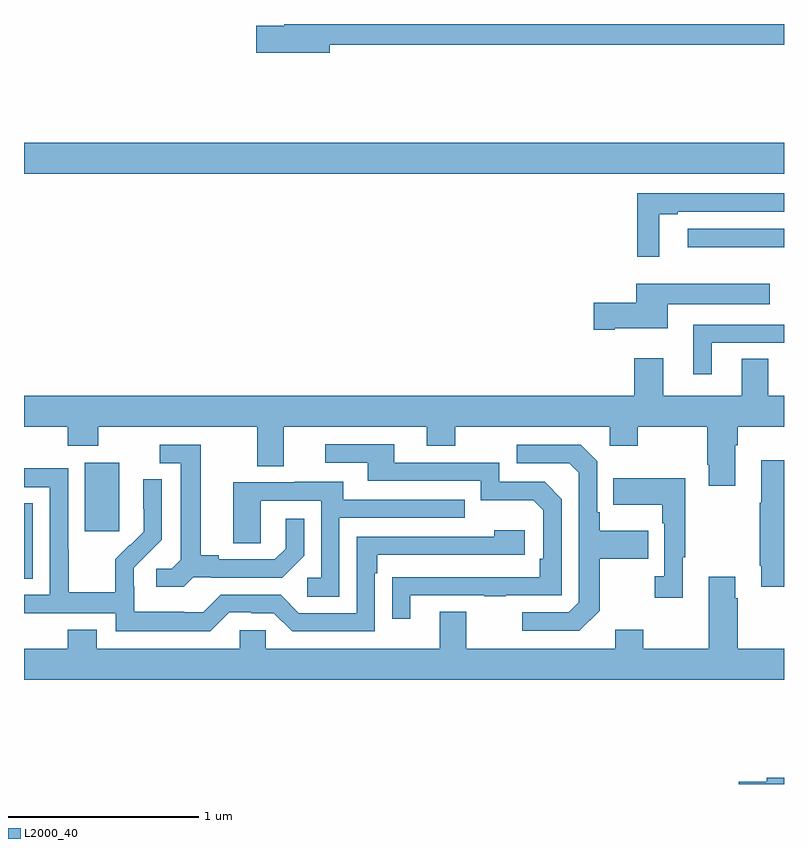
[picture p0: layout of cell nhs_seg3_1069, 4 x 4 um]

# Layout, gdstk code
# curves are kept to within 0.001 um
import gdstk
lib = gdstk.Library(unit=1e-6, precision=1e-09)
def R(c, l, rs):  # rectangles x0, y0, x1, y1
    for r in rs: c.add(gdstk.rectangle(r[:2], r[2:], *l))
def P(c, l, *ps):  # polygons
    for p in ps: c.add(gdstk.Polygon(p, *l))
L2000_40 = (2000, 40)

nhs_seg3_1069 = lib.new_cell('nhs_seg3_1069')
R(nhs_seg3_1069, L2000_40, [(167,669.481,167.047,669.878), (167.321,669.729,167.5,670.09), (170.493,671.225,171,671.322), (167,671.612,171,671.776)])
P(nhs_seg3_1069, L2000_40, [(168.61,672.292),(171,672.292),(171,672.4),(168.371,672.4),(168.371,672.392),(168.222,672.392),(168.222,672.25),(168.61,672.25)],
  [(170.344,671.4),(170.44,671.4),(170.44,671.412),(171,671.412),(171,671.508),(170.227,671.508),(170.227,671.175),(170.344,671.175)],
  [(170.11,670.799),(170.389,670.799),(170.389,670.925),(170.926,670.925),(170.926,671.032),(170.222,671.032),(170.222,670.934),(169.998,670.934),(169.998,670.792),(170.11,670.792)],
  [(170.62,670.722),(171,670.722),(171,670.818),(170.522,670.818),(170.522,670.557),(170.62,670.557)],
  [(170.743,670.184),(170.756,670.184),(170.756,670.28),(171,670.28),(171,670.444),(170.917,670.444),(170.917,670.637),(170.777,670.637),(170.777,670.444),(170.365,670.444),(170.365,670.642),(170.213,670.642),(170.213,670.444),(167,670.444),(167,670.28),(167.231,670.28),(167.231,670.181),(167.391,670.181),(167.391,670.28),(168.227,670.28),(168.227,670.072),(168.367,670.072),(168.367,670.28),(169.121,670.28),(169.121,670.181),(169.269,670.181),(169.269,670.28),(170.082,670.28),(170.082,670.181),(170.229,670.181),(170.229,670.28),(170.596,670.28),(170.596,670.081),(170.603,670.081),(170.603,669.969),(170.743,669.969)],
  [(169.033,669.393),(169.423,669.393),(169.423,669.388),(169.535,669.388),(169.535,669.393),(169.83,669.393),(169.83,669.9),(169.74,669.99),(169.5,669.99),(169.5,670.092),(168.949,670.092),(168.949,670.188),(168.585,670.188),(168.585,670.092),(168.809,670.092),(168.809,669.996),(169.404,669.996),(169.404,669.893),(169.681,669.893),(169.734,669.84),(169.734,669.586),(169.714,669.586),(169.714,669.489),(168.937,669.488),(168.937,669.27),(169.033,669.27)],
  [(170.029,669.313),(170.029,669.586),(170.285,669.586),(170.285,669.733),(170.029,669.733),(170.029,669.829),(170.016,669.829),(170.016,670.098),(169.929,670.185),(169.593,670.185),(169.593,670.089),(169.869,670.089),(169.92,670.038),(169.92,669.357),(169.866,669.303),(169.623,669.303),(169.623,669.207),(169.923,669.207)],
  [(167.892,669.489),(167.986,669.489),(167.986,669.486),(168.358,669.486),(168.474,669.602),(168.474,669.796),(168.377,669.796),(168.377,669.639),(168.32,669.582),(168.025,669.582),(168.025,669.605),(167.929,669.605),(167.929,670.185),(167.715,670.185),(167.715,670.089),(167.825,670.089),(167.825,669.581),(167.778,669.534),(167.697,669.534),(167.697,669.437),(167.84,669.437)],
  [(171,670.105),(170.879,670.105),(170.879,669.881),(170.872,669.881),(170.872,669.55),(170.879,669.55),(170.879,669.438),(171,669.438)],
  [(168.081,669.303),(168.197,669.303),(168.197,669.3),(168.315,669.3),(168.411,669.204),(168.846,669.204),(168.846,669.509),(168.859,669.509),(168.859,669.606),(169.636,669.606),(169.636,669.736),(169.475,669.736),(169.475,669.702),(168.75,669.702),(168.75,669.3),(168.447,669.3),(168.351,669.396),(168.036,669.396),(167.943,669.303),(167.843,669.303),(167.843,669.307),(167.58,669.307),(167.58,669.441),(167.578,669.441),(167.578,669.538),(167.724,669.686),(167.724,670.004),(167.628,670.004),(167.628,669.85),(167.63,669.85),(167.63,669.728),(167.559,669.657),(167.556,669.66),(167.479,669.583),(167.479,669.409),(167.235,669.409),(167.235,669.632),(167.232,669.632),(167.232,670.062),(167,670.062),(167,669.963),(167.136,669.963),(167.136,669.396),(167,669.396),(167,669.3),(167.484,669.3),(167.484,669.203),(167.981,669.203)],
  [(170.467,669.593),(170.479,669.593),(170.479,670.009),(170.101,670.009),(170.101,669.869),(170.358,669.869),(170.358,669.773),(170.37,669.773),(170.37,669.494),(170.319,669.494),(170.319,669.381),(170.467,669.381)],
  [(168.66,669.801),(169.319,669.801),(169.319,669.897),(168.679,669.897),(168.679,669.991),(168.425,669.991),(168.425,669.987),(168.101,669.987),(168.101,669.667),(168.246,669.667),(168.246,669.891),(168.564,669.891),(168.564,669.486),(168.492,669.486),(168.492,669.385),(168.66,669.385)],
  [(171,669.112),(170.756,669.112),(170.756,669.377),(170.743,669.377),(170.743,669.49),(170.603,669.49),(170.603,669.112),(170.259,669.112),(170.259,669.211),(170.111,669.211),(170.111,669.112),(169.327,669.112),(169.327,669.307),(169.187,669.307),(169.187,669.112),(168.273,669.112),(168.273,669.21),(168.135,669.21),(168.135,669.112),(167.383,669.112),(167.383,669.211),(167.231,669.211),(167.231,669.112),(167,669.112),(167,668.948),(171,668.948)],
  [(171,668.432),(170.908,668.432),(170.908,668.412),(170.762,668.412),(170.762,668.4),(171,668.4)])

lib.write_gds('nhs_seg3_1069.gds')
